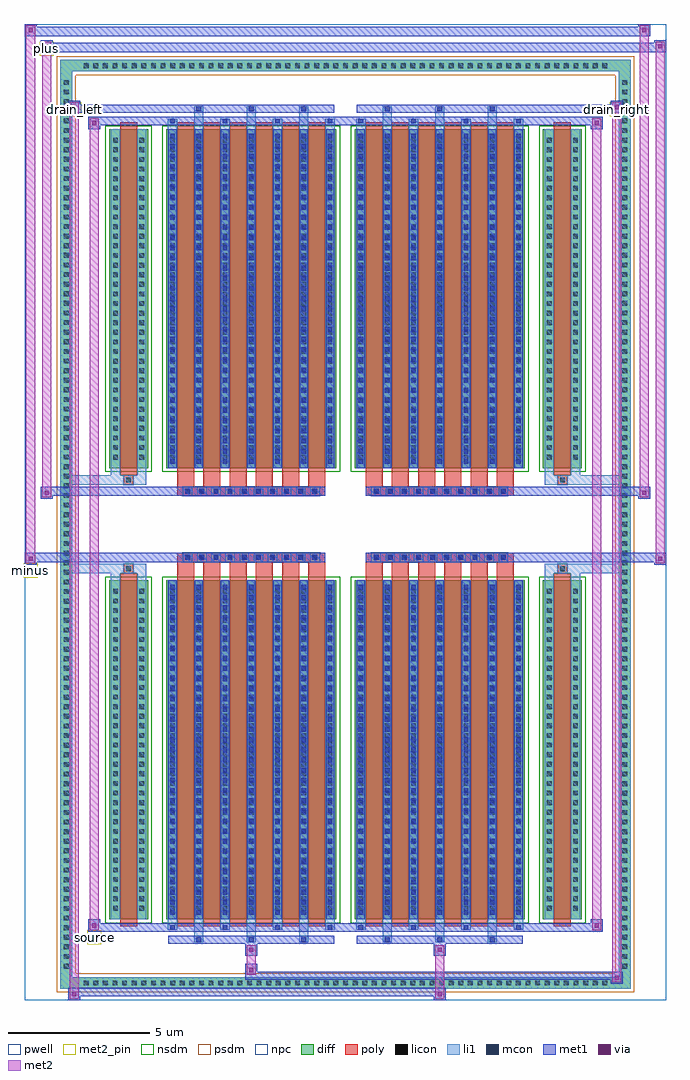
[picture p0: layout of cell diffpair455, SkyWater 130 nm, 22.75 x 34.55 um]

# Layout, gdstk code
import gdstk
lib = gdstk.Library(unit=1e-6, precision=5e-09)
def R(c, l, rs):  # rectangles x0, y0, x1, y1
    for r in rs: c.add(gdstk.rectangle(r[:2], r[2:], *l))
def A(c, l, x, y, w, h, nx, ny, dx, dy):  # array of equal rectangles
    R(c, l, [(x+i*dx, y+j*dy, x+i*dx+w, y+j*dy+h) for i in range(nx) for j in range(ny)])
def P(c, l, *ps):  # polygons
    for p in ps: c.add(gdstk.Polygon(p, *l))
pwell = (64, 44)
diff = (65, 20)
poly = (66, 20)
licon = (66, 44)
li1 = (67, 20)
mcon = (67, 44)
met1 = (68, 20)
via = (68, 44)
met2_pin = (69, 16)
met2 = (69, 20)
nsdm = (93, 44)
psdm = (94, 20)
npc = (95, 20)

diffpair455 = lib.new_cell('diffpair455')
R(diffpair455, pwell, [(-11.36,-16.84,11.36,17.71), (-8.68,-15.03,-0.01,-0.805), (0.01,-15.03,8.68,-0.805), (-8.68,0.805,-0.01,15.03), (0.01,0.805,8.68,15.03)])
A(diffpair455, diff, -9.385, -16.44, 0.41, 0.41, 55, 2, 0.34, 32.47)
A(diffpair455, diff, -10.09, -15.845, 0.41, 0.41, 1, 93, 0, 0.34)
A(diffpair455, diff, 9.68, -15.845, 0.41, 0.41, 1, 93, 0, 0.34)
R(diffpair455, diff, [(-9.385,-16.44,9.385,-16.03), (-10.09,-15.845,-9.68,15.845), (9.68,-15.845,10.09,15.845), (-8.37,-13.985,-6.99,-1.985), (-6.35,-13.985,-0.32,-1.985), (0.32,-13.985,6.35,-1.985), (6.99,-13.985,8.37,-1.985), (-8.37,1.985,-6.99,13.985), (-6.35,1.985,-0.32,13.985), (0.32,1.985,6.35,13.985), (6.99,1.985,8.37,13.985), (-9.385,16.03,9.385,16.44)])
P(diffpair455, diff, [(10.09,16.44),(-10.09,16.44),(-10.09,-16.03),(-9.68,-16.03),(-9.68,16.03),(9.68,16.03),(9.68,-16.03),(-9.68,-16.03),(-10.09,-16.03),(-10.09,-16.44),(10.09,-16.44)])
A(diffpair455, poly, -5.96, -14.235, 0.6, 12.5, 6, 2, 0.93, 15.97)
A(diffpair455, poly, 0.71, -14.235, 0.6, 12.5, 6, 2, 0.93, 15.97)
A(diffpair455, poly, -5.96, -1.735, 0.6, 0.4, 6, 2, 0.93, 3.07)
A(diffpair455, poly, 0.71, -1.735, 0.6, 0.4, 6, 2, 0.93, 3.07)
A(diffpair455, poly, -5.75, -1.335, 0.33, 0.33, 10, 2, 0.5, 2.34)
A(diffpair455, poly, 0.92, -1.335, 0.33, 0.33, 10, 2, 0.5, 2.34)
R(diffpair455, poly, [(-7.98,-14.235,-7.38,-1.735), (7.38,-14.235,7.98,-1.735), (-7.845,-1.735,-7.515,-1.405), (-7.845,-1.735,-7.515,-1.405), (7.515,-1.735,7.845,-1.405), (7.515,-1.735,7.845,-1.405), (-5.96,-1.335,-0.71,-1.005), (0.71,-1.335,5.96,-1.005), (-5.96,1.005,-0.71,1.335), (0.71,1.005,5.96,1.335), (-7.845,1.405,-7.515,1.735), (-7.845,1.405,-7.515,1.735), (7.515,1.405,7.845,1.735), (7.515,1.405,7.845,1.735), (-7.98,1.735,-7.38,14.235), (7.38,1.735,7.98,14.235)])
A(diffpair455, licon, -9.265, -16.32, 0.17, 0.17, 55, 2, 0.34, 32.47)
A(diffpair455, licon, -9.97, -15.725, 0.17, 0.17, 1, 93, 0, 0.34)
A(diffpair455, licon, 9.8, -15.725, 0.17, 0.17, 1, 93, 0, 0.34)
A(diffpair455, licon, -8.23, -13.68, 0.17, 0.17, 1, 34, 0, 0.34)
A(diffpair455, licon, -7.3, -13.68, 0.17, 0.17, 1, 34, 0, 0.34)
A(diffpair455, licon, -6.21, -13.68, 0.17, 0.17, 7, 34, 0.93, 0.34)
A(diffpair455, licon, 0.46, -13.68, 0.17, 0.17, 7, 34, 0.93, 0.34)
A(diffpair455, licon, 7.13, -13.68, 0.17, 0.17, 1, 34, 0, 0.34)
A(diffpair455, licon, 8.06, -13.68, 0.17, 0.17, 1, 34, 0, 0.34)
A(diffpair455, licon, -5.67, -1.255, 0.17, 0.17, 10, 2, 0.5, 2.34)
A(diffpair455, licon, 1, -1.255, 0.17, 0.17, 10, 2, 0.5, 2.34)
A(diffpair455, licon, -8.23, 2.29, 0.17, 0.17, 1, 34, 0, 0.34)
A(diffpair455, licon, -7.3, 2.29, 0.17, 0.17, 1, 34, 0, 0.34)
A(diffpair455, licon, -6.21, 2.29, 0.17, 0.17, 7, 34, 0.93, 0.34)
A(diffpair455, licon, 0.46, 2.29, 0.17, 0.17, 7, 34, 0.93, 0.34)
A(diffpair455, licon, 7.13, 2.29, 0.17, 0.17, 1, 34, 0, 0.34)
A(diffpair455, licon, 8.06, 2.29, 0.17, 0.17, 1, 34, 0, 0.34)
R(diffpair455, licon, [(-7.765,-1.655,-7.595,-1.485), (7.595,-1.655,7.765,-1.485), (-7.765,1.485,-7.595,1.655), (7.595,1.485,7.765,1.655)])
A(diffpair455, li1, -9.345, -16.4, 0.33, 0.33, 55, 2, 0.34, 32.47)
A(diffpair455, li1, -10.05, -15.805, 0.33, 0.33, 1, 93, 0, 0.34)
A(diffpair455, li1, 9.72, -15.805, 0.33, 0.33, 1, 93, 0, 0.34)
A(diffpair455, li1, -5.36, -14.79, 0.33, 0.805, 3, 2, 1.86, 28.775)
A(diffpair455, li1, -5.28, -14.79, 0.17, 0.17, 3, 2, 1.86, 29.41)
A(diffpair455, li1, 1.31, -14.79, 0.33, 0.805, 3, 2, 1.86, 28.775)
A(diffpair455, li1, 1.39, -14.79, 0.17, 0.17, 3, 2, 1.86, 29.41)
A(diffpair455, li1, -6.29, -14.36, 0.33, 0.375, 4, 2, 1.86, 28.345)
A(diffpair455, li1, -6.21, -14.36, 0.17, 0.17, 4, 2, 1.86, 28.55)
A(diffpair455, li1, 0.38, -14.36, 0.33, 0.375, 4, 2, 1.86, 28.345)
A(diffpair455, li1, 0.46, -14.36, 0.17, 0.17, 4, 2, 1.86, 28.55)
A(diffpair455, li1, -6.29, -13.985, 0.33, 12, 7, 2, 0.93, 15.97)
A(diffpair455, li1, 0.38, -13.985, 0.33, 12, 7, 2, 0.93, 15.97)
A(diffpair455, li1, -6.21, -13.83, 0.17, 0.17, 7, 33, 0.93, 0.36)
A(diffpair455, li1, -6.21, -13.83, 0.17, 11.69, 7, 2, 0.93, 15.97)
A(diffpair455, li1, 0.46, -13.83, 0.17, 0.17, 7, 33, 0.93, 0.36)
A(diffpair455, li1, 0.46, -13.83, 0.17, 11.69, 7, 2, 0.93, 15.97)
A(diffpair455, li1, -8.31, -13.76, 0.33, 0.33, 1, 34, 0, 0.34)
A(diffpair455, li1, -7.38, -13.76, 0.33, 0.33, 1, 34, 0, 0.34)
A(diffpair455, li1, -6.29, -13.76, 0.33, 0.33, 7, 34, 0.93, 0.34)
A(diffpair455, li1, 0.38, -13.76, 0.33, 0.33, 7, 34, 0.93, 0.34)
A(diffpair455, li1, 7.05, -13.76, 0.33, 0.33, 1, 34, 0, 0.34)
A(diffpair455, li1, 7.98, -13.76, 0.33, 0.33, 1, 34, 0, 0.34)
A(diffpair455, li1, -5.75, -1.335, 0.33, 0.33, 10, 2, 0.5, 2.34)
A(diffpair455, li1, 0.92, -1.335, 0.33, 0.33, 10, 2, 0.5, 2.34)
A(diffpair455, li1, -6.21, 2.14, 0.17, 0.17, 7, 33, 0.93, 0.36)
A(diffpair455, li1, 0.46, 2.14, 0.17, 0.17, 7, 33, 0.93, 0.36)
A(diffpair455, li1, -8.31, 2.21, 0.33, 0.33, 1, 34, 0, 0.34)
A(diffpair455, li1, -7.38, 2.21, 0.33, 0.33, 1, 34, 0, 0.34)
A(diffpair455, li1, -6.29, 2.21, 0.33, 0.33, 7, 34, 0.93, 0.34)
A(diffpair455, li1, 0.38, 2.21, 0.33, 0.33, 7, 34, 0.93, 0.34)
A(diffpair455, li1, 7.05, 2.21, 0.33, 0.33, 1, 34, 0, 0.34)
A(diffpair455, li1, 7.98, 2.21, 0.33, 0.33, 1, 34, 0, 0.34)
R(diffpair455, li1, [(-10.09,-16.44,-9.68,-16.03), (-10.09,-16.44,-9.68,-16.03), (-9.68,-16.44,9.68,-16.03), (9.68,-16.44,10.09,-16.03), (9.68,-16.44,10.09,-16.03), (-10.09,-16.03,-9.68,16.03), (9.68,-16.03,10.09,16.03), (-8.31,-13.985,-7.98,-1.985), (-7.38,-13.985,-7.05,-1.985), (7.05,-13.985,7.38,-1.985), (7.98,-13.985,8.31,-1.985), (-8.31,-1.985,-7.98,-1.405), (-7.38,-1.985,-7.05,-1.405), (7.05,-1.985,7.38,-1.405), (7.98,-1.985,8.31,-1.405), (-10.09,-1.735,-7.845,-1.405), (-8.31,-1.735,-7.845,-1.405), (-7.845,-1.735,-7.515,-1.405), (-7.515,-1.735,-7.05,-1.405), (7.05,-1.735,7.515,-1.405), (7.515,-1.735,7.845,-1.405), (7.515,-1.735,10.09,-1.405), (7.845,-1.735,8.31,-1.405), (-10.09,1.405,-7.845,1.735), (-8.31,1.405,-7.845,1.735), (-8.31,1.405,-7.98,1.985), (-7.845,1.405,-7.515,1.735), (-7.515,1.405,-7.05,1.735), (-7.38,1.405,-7.05,1.985), (7.05,1.405,7.515,1.735), (7.05,1.405,7.38,1.985), (7.515,1.405,7.845,1.735), (7.515,1.405,10.09,1.735), (7.845,1.405,8.31,1.735), (7.98,1.405,8.31,1.985), (-8.31,1.985,-7.98,13.985), (-7.38,1.985,-7.05,13.985), (7.05,1.985,7.38,13.985), (7.98,1.985,8.31,13.985), (-10.09,16.03,-9.68,16.44), (-10.09,16.03,-9.68,16.44), (-9.68,16.03,9.68,16.44), (9.68,16.03,10.09,16.44), (9.68,16.03,10.09,16.44)])
A(diffpair455, mcon, -5.28, -14.79, 0.17, 0.17, 3, 2, 1.86, 29.41)
A(diffpair455, mcon, 1.39, -14.79, 0.17, 0.17, 3, 2, 1.86, 29.41)
A(diffpair455, mcon, -6.21, -14.36, 0.17, 0.17, 4, 2, 1.86, 28.55)
A(diffpair455, mcon, 0.46, -14.36, 0.17, 0.17, 4, 2, 1.86, 28.55)
A(diffpair455, mcon, -6.21, -13.83, 0.17, 0.17, 7, 33, 0.93, 0.36)
A(diffpair455, mcon, 0.46, -13.83, 0.17, 0.17, 7, 33, 0.93, 0.36)
A(diffpair455, mcon, -5.67, -1.255, 0.17, 0.17, 10, 2, 0.5, 2.34)
A(diffpair455, mcon, 1, -1.255, 0.17, 0.17, 10, 2, 0.5, 2.34)
A(diffpair455, mcon, -6.21, 2.14, 0.17, 0.17, 7, 33, 0.93, 0.36)
A(diffpair455, mcon, 0.46, 2.14, 0.17, 0.17, 7, 33, 0.93, 0.36)
A(diffpair455, met1, -5.34, -14.85, 0.29, 0.29, 3, 2, 1.86, 29.41)
A(diffpair455, met1, 1.33, -14.85, 0.29, 0.29, 3, 2, 1.86, 29.41)
A(diffpair455, met1, -6.27, -14.42, 0.29, 0.29, 4, 2, 1.86, 28.55)
A(diffpair455, met1, 0.4, -14.42, 0.29, 0.29, 4, 2, 1.86, 28.55)
A(diffpair455, met1, -6.27, -13.985, 0.29, 12, 7, 2, 0.93, 15.97)
A(diffpair455, met1, 0.4, -13.985, 0.29, 12, 7, 2, 0.93, 15.97)
A(diffpair455, met1, -6.27, -13.89, 0.29, 0.29, 7, 33, 0.93, 0.36)
A(diffpair455, met1, 0.4, -13.89, 0.29, 0.29, 7, 33, 0.93, 0.36)
A(diffpair455, met1, -5.73, -1.315, 0.29, 0.29, 10, 2, 0.5, 2.34)
A(diffpair455, met1, 0.94, -1.315, 0.29, 0.29, 10, 2, 0.5, 2.34)
A(diffpair455, met1, -6.27, 2.08, 0.29, 0.29, 7, 33, 0.93, 0.36)
A(diffpair455, met1, 0.4, 2.08, 0.29, 0.29, 7, 33, 0.93, 0.36)
R(diffpair455, met1, [(-9.82,-16.84,-9.39,-16.41), (3.12,-16.84,3.55,-16.41), (-9.82,-16.7,3.55,-16.41), (9.39,-16.27,9.82,-15.84), (-3.55,-16.13,9.82,-15.84), (-3.55,-15.99,-3.12,-15.56), (-3.55,-15.28,-3.12,-14.85), (3.12,-15.28,3.55,-14.85), (-6.27,-14.85,-0.4,-14.56), (0.4,-14.85,6.27,-14.56), (-9.11,-14.42,-8.68,-13.99), (-9.11,-14.42,-6.27,-14.13), (-6.27,-14.42,-0.4,-14.13), (-0.4,-14.42,0.4,-14.13), (0.4,-14.42,6.27,-14.13), (6.27,-14.42,9.11,-14.13), (8.68,-14.42,9.11,-13.99), (-11.36,-1.435,-10.93,-1.005), (10.93,-1.435,11.36,-1.005), (-11.36,-1.335,-0.71,-1.005), (-5.96,-1.335,-0.71,-1.005), (0.71,-1.335,5.96,-1.005), (0.71,-1.335,11.36,-1.005), (-10.79,0.905,-10.36,1.335), (10.36,0.905,10.79,1.335), (-10.79,1.005,-5.96,1.335), (-5.96,1.005,-0.71,1.335), (0.71,1.005,5.96,1.335), (5.96,1.005,10.79,1.335), (-9.11,13.99,-8.68,14.42), (8.68,13.99,9.11,14.42), (-9.11,14.13,-6.27,14.42), (-6.27,14.13,-0.4,14.42), (-0.4,14.13,0.4,14.42), (0.4,14.13,6.27,14.42), (6.27,14.13,9.11,14.42), (-9.82,14.56,-9.39,14.99), (-9.82,14.56,-6.27,14.85), (-6.27,14.56,-0.4,14.85), (0.4,14.56,6.27,14.85), (6.27,14.56,9.82,14.85), (9.39,14.56,9.82,14.99), (-10.79,16.71,-10.36,17.14), (-10.79,16.71,-8.68,17.04), (-8.68,16.71,8.68,17.04), (8.68,16.71,11.36,17.04), (10.93,16.71,11.36,17.14), (-11.36,17.28,-10.93,17.71), (-11.36,17.28,-8.68,17.61), (-8.68,17.28,8.68,17.61), (8.68,17.28,10.79,17.61), (10.36,17.28,10.79,17.71)])
R(diffpair455, via, [(-9.68,-16.7,-9.53,-16.55), (3.26,-16.7,3.41,-16.55), (9.53,-16.13,9.68,-15.98), (-3.41,-15.85,-3.26,-15.7), (-3.41,-15.14,-3.26,-14.99), (3.26,-15.14,3.41,-14.99), (-8.97,-14.28,-8.82,-14.13), (8.82,-14.28,8.97,-14.13), (-11.22,-1.295,-11.07,-1.145), (11.07,-1.295,11.22,-1.145), (-10.65,1.045,-10.5,1.195), (10.5,1.045,10.65,1.195), (-8.97,14.13,-8.82,14.28), (8.82,14.13,8.97,14.28), (-9.68,14.7,-9.53,14.85), (9.53,14.7,9.68,14.85), (-10.65,16.85,-10.5,17), (11.07,16.85,11.22,17), (-11.22,17.42,-11.07,17.57), (10.5,17.42,10.65,17.57)])
R(diffpair455, met2_pin, [(-9.145,-14.87,-8.645,-14.37), (-11.395,-1.885,-10.895,-1.385), (-9.855,14.44,-9.355,14.94), (9.355,14.44,9.855,14.94), (-10.825,16.59,-10.325,17.09)])
R(diffpair455, met2, [(-9.77,-16.79,-9.44,-16.46), (-9.77,-16.79,-9.44,14.94), (3.17,-16.79,3.5,-16.46), (3.17,-16.46,3.5,-15.23), (9.44,-16.22,9.77,-15.89), (9.44,-16.22,9.77,14.94), (-3.5,-15.94,-3.17,-15.61), (-3.5,-15.61,-3.17,-15.23), (-3.5,-15.23,-3.17,-14.9), (3.17,-15.23,3.5,-14.9), (-9.06,-14.37,-8.73,-14.04), (-9.06,-14.37,-8.73,14.37), (8.73,-14.37,9.06,-14.04), (8.73,-14.37,9.06,14.37), (-11.31,-1.385,-10.98,-1.055), (-11.31,-1.385,-10.98,17.66), (10.98,-1.385,11.31,-1.055), (10.98,-1.385,11.31,17.09), (-10.74,0.955,-10.41,1.285), (-10.74,0.955,-10.41,17.09), (10.41,0.955,10.74,1.285), (10.41,0.955,10.74,17.66), (-9.06,14.04,-8.73,14.37), (8.73,14.04,9.06,14.37), (-9.77,14.61,-9.44,14.94), (9.44,14.61,9.77,14.94), (-10.74,16.76,-10.41,17.09), (10.98,16.76,11.31,17.09), (-11.31,17.33,-10.98,17.66), (10.41,17.33,10.74,17.66)])
P(diffpair455, met2, [(11.31,-1.385),(11.31,-1.385),(11.31,-1.055),(11.31,-1.055)],
  [(11.31,16.76),(11.31,16.76),(11.31,17.09),(11.31,17.09)],
  [(-10.98,-1.385),(-10.98,-1.385),(-10.98,-1.055),(-10.98,-1.055)],
  [(-10.98,17.33),(-10.98,17.33),(-10.98,17.66),(-10.98,17.66)],
  [(10.74,0.955),(10.74,0.955),(10.74,1.285),(10.74,1.285)],
  [(10.74,17.33),(10.74,17.33),(10.74,17.66),(10.74,17.66)],
  [(-10.41,0.955),(-10.41,0.955),(-10.41,1.285),(-10.41,1.285)],
  [(-10.41,16.76),(-10.41,16.76),(-10.41,17.09),(-10.41,17.09)],
  [(-9.44,-16.79),(-9.44,-16.79),(-9.44,-16.46),(-9.44,-16.46)],
  [(-9.44,14.61),(-9.44,14.61),(-9.44,14.94),(-9.44,14.94)],
  [(9.77,-16.22),(9.77,-16.22),(9.77,-15.89),(9.77,-15.89)],
  [(9.77,14.61),(9.77,14.61),(9.77,14.94),(9.77,14.94)],
  [(-8.73,-14.37),(-8.73,-14.37),(-8.73,-14.04),(-8.73,-14.04)],
  [(-8.73,14.04),(-8.73,14.04),(-8.73,14.37),(-8.73,14.37)],
  [(9.06,-14.37),(9.06,-14.37),(9.06,-14.04),(9.06,-14.04)],
  [(9.06,14.04),(9.06,14.04),(9.06,14.37),(9.06,14.37)])
R(diffpair455, nsdm, [(-8.5,-14.115,-6.86,-1.855), (-6.48,-14.115,-0.19,-1.855), (0.19,-14.115,6.48,-1.855), (6.86,-14.115,8.5,-1.855), (-8.5,1.855,-6.86,14.115), (-6.48,1.855,-0.19,14.115), (0.19,1.855,6.48,14.115), (6.86,1.855,8.5,14.115)])
P(diffpair455, psdm, [(10.22,16.57),(-10.22,16.57),(-10.22,-15.9),(-9.55,-15.9),(-9.55,15.9),(9.55,15.9),(9.55,-15.9),(-9.55,-15.9),(-10.22,-15.9),(-10.22,-16.57),(10.22,-16.57)])
A(diffpair455, npc, -5.77, -1.355, 0.37, 0.37, 10, 2, 0.5, 2.34)
A(diffpair455, npc, 0.9, -1.355, 0.37, 0.37, 10, 2, 0.5, 2.34)
R(diffpair455, npc, [(-7.865,-1.755,-7.495,-1.385), (7.495,-1.755,7.865,-1.385), (-5.77,-1.355,-4.9,-0.985), (-5.77,-1.355,-4.9,-0.985), (-5.27,-1.355,-4.4,-0.985), (-5.27,-1.355,-4.4,-0.985), (-4.77,-1.355,-3.9,-0.985), (-4.77,-1.355,-3.9,-0.985), (-4.27,-1.355,-3.4,-0.985), (-4.27,-1.355,-3.4,-0.985), (-3.77,-1.355,-2.9,-0.985), (-3.77,-1.355,-2.9,-0.985), (-3.27,-1.355,-2.4,-0.985), (-3.27,-1.355,-2.4,-0.985), (-2.77,-1.355,-1.9,-0.985), (-2.77,-1.355,-1.9,-0.985), (-2.27,-1.355,-1.4,-0.985), (-2.27,-1.355,-1.4,-0.985), (-1.77,-1.355,-0.9,-0.985), (-1.77,-1.355,-0.9,-0.985), (0.9,-1.355,1.77,-0.985), (0.9,-1.355,1.77,-0.985), (1.4,-1.355,2.27,-0.985), (1.4,-1.355,2.27,-0.985), (1.9,-1.355,2.77,-0.985), (1.9,-1.355,2.77,-0.985), (2.4,-1.355,3.27,-0.985), (2.4,-1.355,3.27,-0.985), (2.9,-1.355,3.77,-0.985), (2.9,-1.355,3.77,-0.985), (3.4,-1.355,4.27,-0.985), (3.4,-1.355,4.27,-0.985), (3.9,-1.355,4.77,-0.985), (3.9,-1.355,4.77,-0.985), (4.4,-1.355,5.27,-0.985), (4.4,-1.355,5.27,-0.985), (4.9,-1.355,5.77,-0.985), (4.9,-1.355,5.77,-0.985), (-5.77,0.985,-4.9,1.355), (-5.77,0.985,-4.9,1.355), (-5.27,0.985,-4.4,1.355), (-5.27,0.985,-4.4,1.355), (-4.77,0.985,-3.9,1.355), (-4.77,0.985,-3.9,1.355), (-4.27,0.985,-3.4,1.355), (-4.27,0.985,-3.4,1.355), (-3.77,0.985,-2.9,1.355), (-3.77,0.985,-2.9,1.355), (-3.27,0.985,-2.4,1.355), (-3.27,0.985,-2.4,1.355), (-2.77,0.985,-1.9,1.355), (-2.77,0.985,-1.9,1.355), (-2.27,0.985,-1.4,1.355), (-2.27,0.985,-1.4,1.355), (-1.77,0.985,-0.9,1.355), (-1.77,0.985,-0.9,1.355), (0.9,0.985,1.77,1.355), (0.9,0.985,1.77,1.355), (1.4,0.985,2.27,1.355), (1.4,0.985,2.27,1.355), (1.9,0.985,2.77,1.355), (1.9,0.985,2.77,1.355), (2.4,0.985,3.27,1.355), (2.4,0.985,3.27,1.355), (2.9,0.985,3.77,1.355), (2.9,0.985,3.77,1.355), (3.4,0.985,4.27,1.355), (3.4,0.985,4.27,1.355), (3.9,0.985,4.77,1.355), (3.9,0.985,4.77,1.355), (4.4,0.985,5.27,1.355), (4.4,0.985,5.27,1.355), (4.9,0.985,5.77,1.355), (4.9,0.985,5.77,1.355), (-7.865,1.385,-7.495,1.755), (7.495,1.385,7.865,1.755)])
diffpair455.add(gdstk.Label('minus', (-11.145,-1.635), layer=69, texttype=5))
diffpair455.add(gdstk.Label('drain_right', (9.605,14.69), layer=69, texttype=5))
diffpair455.add(gdstk.Label('drain_left', (-9.605,14.69), layer=69, texttype=5))
diffpair455.add(gdstk.Label('source', (-8.895,-14.62), layer=69, texttype=5))
diffpair455.add(gdstk.Label('plus', (-10.575,16.84), layer=69, texttype=5))

lib.write_gds('diffpair455.gds')
